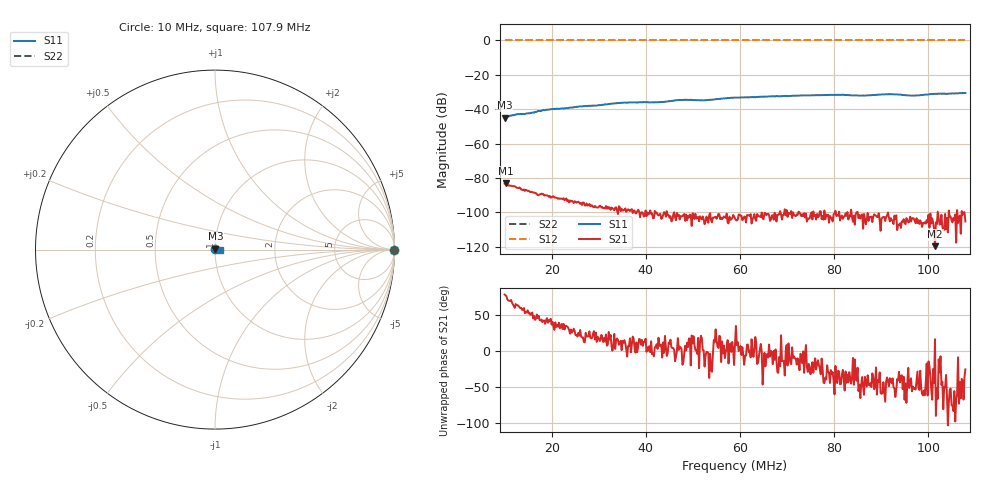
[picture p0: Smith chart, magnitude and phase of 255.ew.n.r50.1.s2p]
! Anritsu VNA Master:  Model: MS2036C/10/77
! SN:  1601066
! /card0/usr/255.ew.n.r50.1.s2p
! Existing Calibration Information:
! TYPE:  Current Settings,  Active Cal Settings
! TIME:  12/17/2017 06:44:37 PM,  12/17/2017 06:38:14 PM
! INTERNAL TEMP:  43.5 C,  43.8 C
! # POINTS:  501,  501
! START FREQ:  10.000 MHz,  10.000 MHz
! STOP FREQ:  107.903 125 MHz,  107.903 125 MHz
! SOURCE POWER:  High,  High
! IFBW:  100 Hz,  100 Hz
! AVG FACTOR:  1 ,  1
! REF PLANE 1:  0 mm,  0 mm
! REF PLANE 2:  0 mm,  0 mm
! CAL TYPE:  Full S11,  Full S11
! CAL METHOD:  SOLT,  SOLT
! CAL LINE TYPE:  Coax,  Coax
! DUT PORT 1:  N-Conn(F),  N-Conn(F)
! DUT PORT 2:  K-Conn(F),  K-Conn(F)
! CAL STATUS:  OK: Accuracy High,  --
# GHZ S DB R 50.0
! FREQ.GHZ  S11DB  S11A  S21DB  S21A  S12DB  S12A  S22DB  S22A
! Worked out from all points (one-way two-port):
!   501 points, 10 MHz to 107.9 MHz, reference 50 ohm
!   highest |S21| = -83.17 dB at 10.2 MHz (marker M1); lowest = -119.7 dB at 101.4 MHz (marker M2)
!   lowest |S11| = -45.0 dB at 10 MHz (marker M3), VSWR 1.01, Z = 50.3 + j0.503 ohm
!   |S11| at or under -10 dB: start of sweep to end of sweep
!   |S22| runs from 0.0 to 0.0 dB; largest |S21 - S12| = 1
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0.01  -44.95 62.2  -83.41 78.5  0.00 0.0  0.00 0.0
0.01019581  -44.45 62.3  -83.17 77.4  0.00 0.0  0.00 0.0
0.01254548  -42.93 64.1  -85.69 63.7  0.00 0.0  0.00 0.0
0.01528677  -42.47 59.1  -87.89 53.6  0.00 0.0  0.00 0.0
0.01841967  -40.60 55.4  -90.26 42.5  0.00 0.0  0.00 0.0
0.02311902  -39.35 54.6  -91.91 35.0  0.00 0.0  0.00 0.0
0.02644772  -38.35 52.3  -95.77 19.0  0.00 0.0  0.00 0.0
0.02977643  -37.78 49.2  -97.18 19.9  0.00 0.0  0.00 0.0
0.03271353  -36.78 47.2  -97.35 7.5  0.00 0.0  0.00 0.0
0.03545481  -36.22 48.4  -98.48 15.3  0.00 0.0  0.00 0.0
0.04269964  -35.96 42.8  -101.88 18.7  0.00 0.0  0.00 0.0
0.04720319  -34.61 38.7  -104.19 6.4  0.00 0.0  0.00 0.0
0.05229415  -34.89 34.6  -104.12 1.2  0.00 0.0  0.00 0.0
0.05914737  -33.30 28.7  -104.58 35.0  0.00 0.0  0.00 0.0
0.07539929  -31.94 19.8  -104.17 -15.4  0.00 0.0  0.00 0.0
0.08186089  -31.63 17.3  -103.88 -25.8  0.00 0.0  0.00 0.0
0.08616863  -32.07 12.3  -109.58 -49.0  0.00 0.0  0.00 0.0
0.09165121  -31.27 8.2  -102.99 -48.6  0.00 0.0  0.00 0.0
0.09360927  -31.49 8.8  -107.21 -40.5  0.00 0.0  0.00 0.0
0.09674217  -32.08 3.4  -103.44 -49.0  0.00 0.0  0.00 0.0
0.1014415  -31.05 -3.8  -119.74 16.6  0.00 0.0  0.00 0.0
0.1079031  -30.62 -6.5  -105.40 -25.2  0.00 0.0  0.00 0.0
